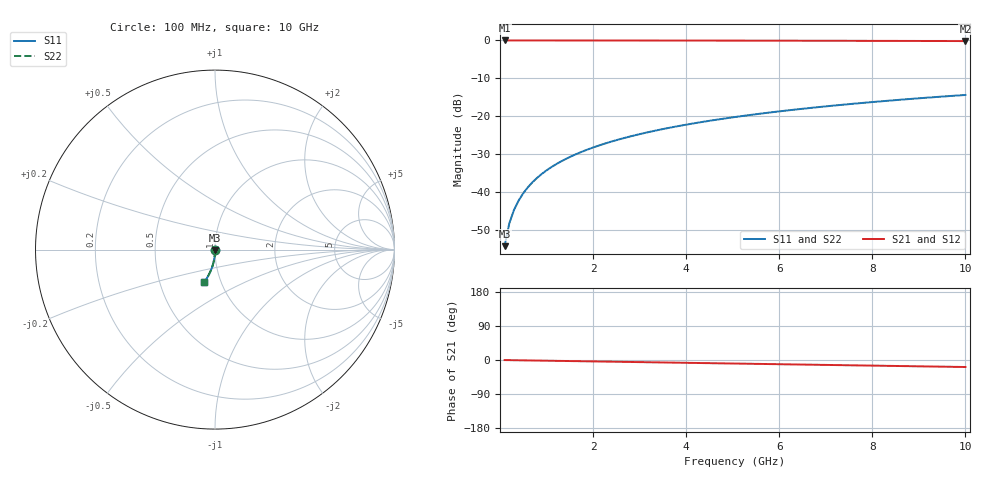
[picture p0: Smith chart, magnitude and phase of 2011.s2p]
# Hz S RI R 50.00
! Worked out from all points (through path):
!   100 points, 100 MHz to 10 GHz, reference 50 ohm
!   highest |S21| = 0.00 dB at 100 MHz (marker M1); lowest = -0.2 dB at 10 GHz (marker M2)
!   group delay of S21, straight-line fit = 5.15 ps
!   lowest |S11| = -54.2 dB at 100 MHz (marker M3), VSWR 1.00, Z = 50 - j0.195 ohm
!   |S11| at or under -10 dB: start of sweep to end of sweep
!   |S22| runs from -54.2 to -14.4 dB; largest |S21 - S12| = 0
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1e8  0.000226 -0.00195  0.9998 -0.00323  0.9998 -0.00323  0.000226 -0.00195
2e8  0.000206 -0.00389  0.9997 -0.00645  0.9997 -0.00645  0.000206 -0.00389
3e8  0.000174 -0.00584  0.9997 -0.00968  0.9997 -0.00968  0.000174 -0.00584
4e8  0.000128 -0.00779  0.9996 -0.0129  0.9996 -0.0129  0.000128 -0.00779
5e8  6.99e-05 -0.00974  0.9996 -0.0161  0.9996 -0.0161  6.99e-05 -0.00974
6e8  -9.95e-07 -0.0117  0.9995 -0.0194  0.9995 -0.0194  -9.95e-07 -0.0117
7e8  -8.45e-05 -0.0136  0.9994 -0.0226  0.9994 -0.0226  -8.45e-05 -0.0136
8e8  -0.000181 -0.0156  0.9993 -0.0258  0.9993 -0.0258  -0.000181 -0.0156
9e8  -0.000289 -0.0175  0.9992 -0.029  0.9992 -0.029  -0.000289 -0.0175
1.1e9  -0.000545 -0.0214  0.9989 -0.0355  0.9989 -0.0355  -0.000545 -0.0214
1.4e9  -0.00102 -0.0272  0.9983 -0.0451  0.9983 -0.0451  -0.00102 -0.0272
1.8e9  -0.00184 -0.035  0.9974 -0.058  0.9974 -0.058  -0.00184 -0.035
2.1e9  -0.00258 -0.0408  0.9966 -0.0677  0.9966 -0.0677  -0.00258 -0.0408
2.5e9  -0.00374 -0.0486  0.9952 -0.0806  0.9952 -0.0806  -0.00374 -0.0486
2.9e9  -0.00511 -0.0563  0.9937 -0.0934  0.9937 -0.0934  -0.00511 -0.0563
3.4e9  -0.0071 -0.0658  0.9914 -0.1094  0.9914 -0.1094  -0.0071 -0.0658
4.2e9  -0.0109 -0.081  0.9871 -0.1349  0.9871 -0.1349  -0.0109 -0.081
5.1e9  -0.0162 -0.0978  0.9812 -0.1633  0.9812 -0.1633  -0.0162 -0.0978
5.9e9  -0.0216 -0.1125  0.975 -0.1884  0.975 -0.1884  -0.0216 -0.1125
6.7e9  -0.0278 -0.1269  0.9679 -0.2131  0.9679 -0.2131  -0.0278 -0.1269
8.4e9  -0.0434 -0.1561  0.9501 -0.2646  0.9501 -0.2646  -0.0434 -0.1561
1e10  -0.0608 -0.1817  0.9302 -0.3114  0.9302 -0.3114  -0.0608 -0.1817
